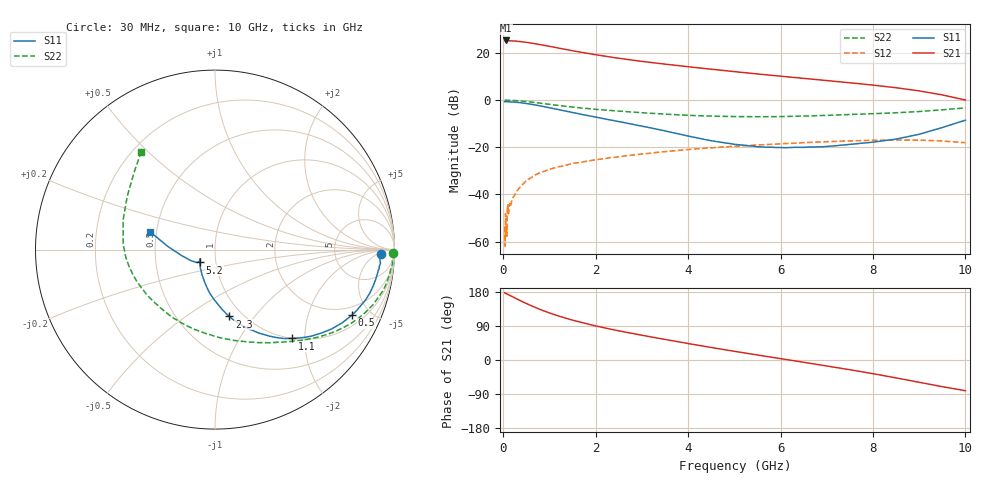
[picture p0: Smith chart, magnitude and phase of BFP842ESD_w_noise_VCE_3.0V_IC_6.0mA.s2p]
! Infineon Technologies  Discrete & RF Semiconductors
! BFP842ESD
! VCE =  3.0 V,  IC =  6.0 mA
! Common Emitter S-Parameters:  May 2012
# GHz  S  MA  R  50
!  f  S11  S21  S12  S22
! GHz  MAG  ANG  MAG  ANG  MAG  ANG  MAG  ANG
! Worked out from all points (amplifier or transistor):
!   99 points, 30 MHz to 10 GHz, reference 50 ohm
!   highest |S21| = 25.3 dB at 60 MHz (marker M1)
!   |S21| within 3 dB of that: start of sweep to 1.137 GHz
!   unconditionally stable (mu >= 1): 3.521 GHz to end of sweep
!   at 350 MHz: K = 0.16, MSG = 31.0 dB, |S12| = -37.2 dB
!   at 3.5 GHz: K = 1.00, MSG = 18.6 dB, |S12| = -21.9 dB
!   at 10 GHz: K = 1.86, MAG = 3.7 dB, |S12| = -18.1 dB
!   lowest NFmin = 0.46 dB at 450 MHz
!   S11 on the Smith chart (normalised r, x): 30 MHz: 22, -8; 500 MHz: 1.50, -3.85; 1.1 GHz: 1.00, -1.74; 2.3 GHz: 0.87, -0.76; 5.2 GHz: 0.84, -0.12; 10 GHz: 0.46, +0.11
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0.03  0.9227 -1.6  18.24 177.6  0.0021 -47.5  0.9932 -1.1
0.04  0.925 -2.1  18.17 176.8  0.0008 78.1  0.9918 -1.2
0.05  0.922 -2.9  18.06 175.9  0.0039 87.4  0.992 -2.1
0.06  0.9208 -3.3  18.34 175.4  0.0013 136.1  0.995 -2.3
0.08  0.9231 -4.2  18.18 174.2  0.0013 86.1  0.9896 -3.0
0.09  0.9253 -4.8  17.92 174.0  0.0057 93.9  0.9892 -3.3
0.11  0.9196 -6.1  18.22 172.5  0.0039 79.5  0.9924 -4.3
0.25  0.9035 -13.2  17.86 164.0  0.0098 76.4  0.9762 -10.0
0.5  0.8459 -25.6  16.74 149.1  0.0196 72.9  0.9318 -19.3
0.8  0.7519 -38.3  14.96 133.3  0.029 63.5  0.8603 -28.7
1.1  0.6568 -48.9  13.2 120.0  0.0364 57.7  0.7888 -36.5
1.4  0.5708 -57.7  11.61 108.7  0.0425 53.1  0.7284 -42.9
1.7  0.4958 -65.1  10.26 98.9  0.0484 49.1  0.677 -48.6
2.3  0.3808 -77.8  8.235 82.0  0.06 43.0  0.6044 -59.2
2.7  0.3198 -85.0  7.227 72.2  0.0665 38.8  0.5644 -66.3
3.4  0.2326 -98.8  5.934 56.5  0.0794 32.2  0.51 -80.0
4.2  0.1576 -117.5  4.847 39.3  0.0929 23.2  0.4663 -98.2
5.1  0.1126 -138.7  3.916 21.1  0.106 12.4  0.4461 -118.9
5.2  0.1107 -139.9  3.829 19.1  0.1074 11.1  0.4463 -121.0
6.7  0.1009 -145.1  2.765 -9.9  0.1272 -7.7  0.4635 -153.9
8.5  0.1487 -155.9  1.825 -47.2  0.1424 -36.8  0.5378 162.2
10  0.3745 164.7  1.003 -81.0  0.1249 -67.8  0.6815 127.2
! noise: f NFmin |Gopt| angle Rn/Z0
0.45  0.46  0.3  2  0.12
0.9  0.48  0.31  9  0.11
1.5  0.5  0.34  19  0.11
1.9  0.52  0.33  26  0.1
2.4  0.54  0.29  39  0.1
3.5  0.64  0.21  81  0.08
4  0.68  0.17  104  0.08
5  0.73  0.17  122  0.07
5.5  0.84  0.16  147  0.08
6  0.97  0.14  161  0.08
